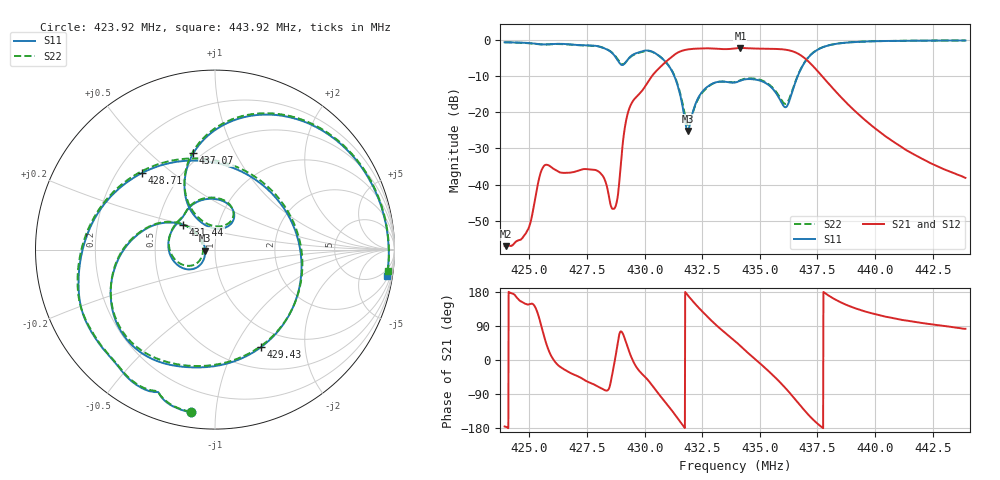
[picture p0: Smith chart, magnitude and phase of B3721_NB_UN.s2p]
! S-Parameter for B3721 in Touchstone format with Magnitude (lin) and Phase
! Normalised impedance: 50 Ohm. Measurement system: 50 Ohm. Ta=25°C
! B3721_SB.S2P not matched. Measurement full 2-port calibrated incl. Port.Ext.
! Start: 423.92MHz, Stop: 443.92MHz, Span 20MHz, 1601 Pts., Step 125kHz
! Date: 07/12/2007 - EPCOS COM WT AE PD; AB
# MHZ S MA R 50
! freq  magS11 angS11  magS21 angS21  magS12 angS12  magS22 angS22
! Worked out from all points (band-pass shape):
!   1601 points, 423.92 MHz to 443.92 MHz, reference 50 ohm
!   highest |S21| = -2.32 dB at 434.16 MHz (marker M1); lowest = -56.9 dB at 423.98 MHz (marker M2)
!   |S21| within 3 dB of the highest: 431.07 MHz to 436.98 MHz (5.911 MHz wide, 1.36 % of centre)
!   lowest |S11| = -25.2 dB at 431.87 MHz (marker M3), VSWR 1.12, Z = 44.8 - j0.545 ohm
!   |S11| at or under -10 dB: 431.28 MHz to 436.65 MHz (5.365 MHz wide, 1.24 % of centre)
!   |S22| runs from -23.5 to -0.3 dB; largest |S21 - S12| = 0.0015
!   S11 on the Smith chart (normalised r, x): 423.92 MHz: 0.08, -0.86; 428.71 MHz: 0.30, +0.39; 429.43 MHz: 0.76, -1.28; 431.44 MHz: 0.68, +0.20; 437.07 MHz: 0.45, +0.70; 443.92 MHz: 3, -13
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423.92  0.9169 -98.5  0.001438 -175.4  0.001442 -175.1  0.9131 -98.5
423.9825  0.9165 -98.9  0.001426 -176.5  0.001425 -176.5  0.913 -99.0
424.92  0.896 -106.9  0.002378 146.3  0.002377 146.5  0.8909 -107.2
425.645  0.8555 -111.9  0.01837 60.1  0.01839 60.3  0.8525 -112.4
427.2575  0.8353 -135.3  0.01619 -47.9  0.01621 -47.8  0.8318 -135.9
428.245  0.7566 -174.1  0.01218 -79.0  0.01219 -79.0  0.761 -174.8
428.7075  0.5898 133.7  0.004808 -0.1  0.004792 -0.2  0.6021 134.5
429.1075  0.459 13.8  0.05271 61.2  0.05251 61.3  0.4631 19.2
429.4325  0.6004 -64.6  0.1326 5.8  0.1324 6.0  0.5909 -62.3
430.595  0.6053 -162.5  0.3945 -88.7  0.3947 -88.7  0.6048 -162.8
431.445  0.2241 142.0  0.6632 -155.1  0.6627 -155.2  0.2332 142.2
431.87  0.05517 -173.7  0.7301 170.8  0.7298 170.9  0.06703 176.0
432.8325  0.2363 -163.0  0.7553 107.7  0.7554 107.7  0.2335 -167.9
433.92  0.2558 134.5  0.7541 50.1  0.7535 50.1  0.259 132.0
434.1575  0.2714 123.7  0.7653 36.7  0.7644 36.7  0.2763 122.0
435.095  0.2655 74.9  0.7477 -13.8  0.7465 -13.8  0.2728 75.7
436.0075  0.1242 71.5  0.731 -67.3  0.7301 -67.3  0.1363 73.8
437.07  0.55 102.7  0.5114 -142.2  0.5103 -142.2  0.554 103.2
437.2575  0.6356 93.6  0.447 -154.2  0.4457 -154.2  0.6395 94.3
438.72  0.9041 44.2  0.1382 146.4  0.1377 146.4  0.9054 45.6
440.595  0.9563 15.5  0.04312 112.7  0.04296 112.9  0.9573 17.1
443.92  0.9692 -8.7  0.01244 82.4  0.01241 82.6  0.9705 -7.2
